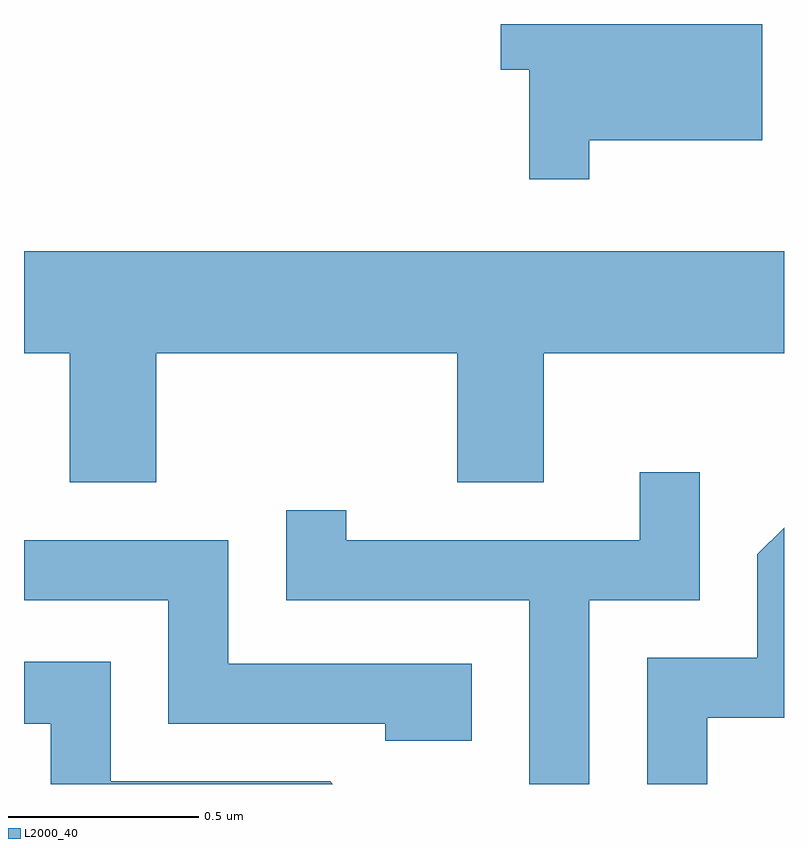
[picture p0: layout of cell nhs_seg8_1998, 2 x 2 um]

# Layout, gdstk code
import gdstk
lib = gdstk.Library(unit=1e-6, precision=1e-09)
def P(c, l, *ps):  # polygons
    for p in ps: c.add(gdstk.Polygon(p, *l))
L2000_40 = (2000, 40)

nhs_seg8_1998 = lib.new_cell('nhs_seg8_1998')
P(nhs_seg8_1998, L2000_40, [(201.099,1888.036),(201.554,1888.036),(201.554,1888.342),(200.866,1888.342),(200.866,1888.221),(200.941,1888.221),(200.941,1887.933),(201.099,1887.933)],
  [(199.959,1887.476),(200.751,1887.476),(200.751,1887.136),(200.979,1887.136),(200.979,1887.476),(201.611,1887.476),(201.611,1887.744),(199.611,1887.744),(199.611,1887.476),(199.731,1887.476),(199.731,1887.136),(199.959,1887.136)],
  [(201.099,1886.826),(201.389,1886.826),(201.389,1887.163),(201.231,1887.163),(201.231,1886.984),(200.459,1886.984),(200.459,1887.063),(200.301,1887.063),(200.301,1886.826),(200.941,1886.826),(200.941,1886.342),(201.099,1886.342)],
  [(201.409,1886.516),(201.611,1886.516),(201.611,1887.017),(201.541,1886.947),(201.541,1886.674),(201.251,1886.674),(201.251,1886.342),(201.409,1886.342)],
  [(200.789,1886.659),(200.149,1886.659),(200.149,1886.984),(199.611,1886.984),(199.611,1886.826),(199.991,1886.826),(199.991,1886.501),(200.561,1886.501),(200.561,1886.456),(200.789,1886.456)],
  [(200.417,1886.349),(199.839,1886.349),(199.839,1886.664),(199.611,1886.664),(199.611,1886.501),(199.681,1886.501),(199.681,1886.342),(200.424,1886.342)])

lib.write_gds('nhs_seg8_1998.gds')
